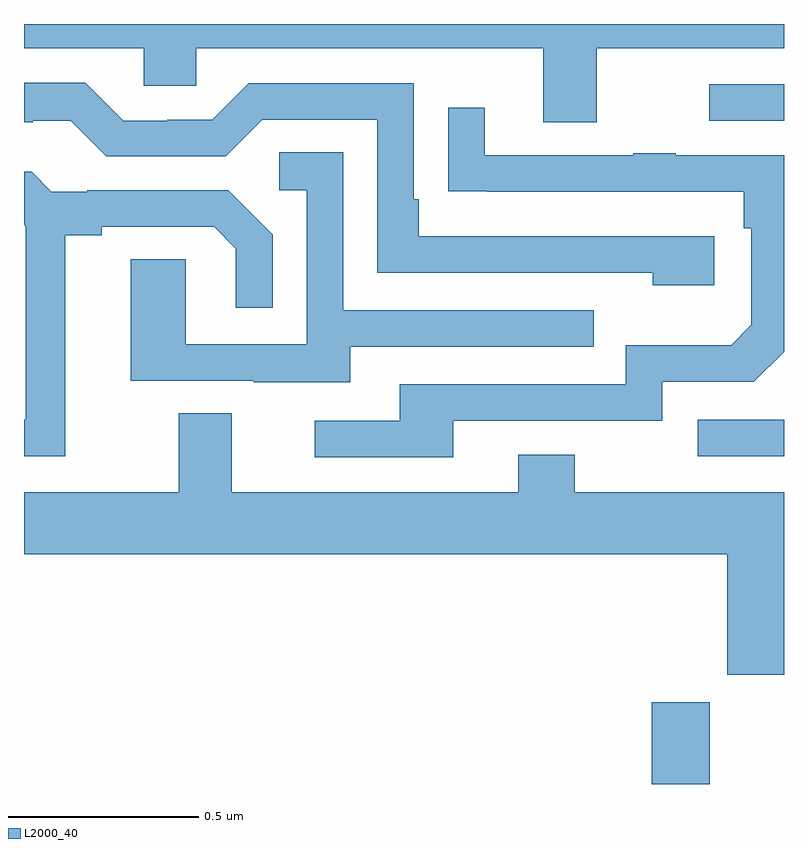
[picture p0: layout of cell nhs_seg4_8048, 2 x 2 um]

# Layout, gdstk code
import gdstk
lib = gdstk.Library(unit=1e-6, precision=1e-09)
def R(c, l, rs):  # rectangles x0, y0, x1, y1
    for r in rs: c.add(gdstk.rectangle(r[:2], r[2:], *l))
def P(c, l, *ps):  # polygons
    for p in ps: c.add(gdstk.Polygon(p, *l))
L2000_40 = (2000, 40)

nhs_seg4_8048 = lib.new_cell('nhs_seg4_8048')
R(nhs_seg4_8048, L2000_40, [(211.652,778.9,211.804,779.115), (211.773,779.763,212,779.859), (211.803,780.645,212,780.741)])
P(nhs_seg4_8048, L2000_40, [(211.507,780.836),(212,780.836),(212,780.9),(210,780.9),(210,780.836),(210.315,780.836),(210.315,780.738),(210.453,780.738),(210.453,780.836),(211.367,780.836),(211.367,780.642),(211.507,780.642)],
  [(211.816,780.342),(211.039,780.342),(211.039,780.439),(211.026,780.439),(211.026,780.744),(210.591,780.744),(210.495,780.648),(210.377,780.648),(210.377,780.645),(210.261,780.645),(210.161,780.745),(210,780.745),(210,780.641),(210.023,780.641),(210.023,780.645),(210.123,780.645),(210.216,780.552),(210.531,780.552),(210.627,780.648),(210.93,780.648),(210.93,780.246),(211.655,780.246),(211.655,780.212),(211.816,780.212)],
  [(211.129,779.856),(211.68,779.856),(211.68,779.958),(211.92,779.958),(212,780.038),(212,780.555),(211.715,780.555),(211.715,780.56),(211.603,780.56),(211.603,780.555),(211.213,780.555),(211.213,780.679),(211.117,780.679),(211.117,780.46),(211.219,780.46),(211.219,780.459),(211.894,780.459),(211.894,780.362),(211.914,780.362),(211.914,780.108),(211.861,780.055),(211.584,780.055),(211.584,779.952),(210.989,779.952),(210.989,779.856),(210.765,779.856),(210.765,779.76),(211.129,779.76)],
  [(210.859,780.051),(211.499,780.051),(211.499,780.147),(210.84,780.147),(210.84,780.563),(210.672,780.563),(210.672,780.462),(210.744,780.462),(210.744,780.057),(210.426,780.057),(210.426,780.281),(210.281,780.281),(210.281,779.961),(210.605,779.961),(210.605,779.957),(210.859,779.957)],
  [(210.109,780.344),(210.205,780.344),(210.205,780.366),(210.5,780.366),(210.557,780.309),(210.557,780.153),(210.654,780.153),(210.654,780.346),(210.538,780.462),(210.166,780.462),(210.166,780.459),(210.072,780.459),(210.02,780.511),(210,780.511),(210,780.372),(210.005,780.367),(210.005,779.859),(210,779.859),(210,779.763),(210.109,779.763)],
  [(212,779.668),(211.449,779.668),(211.449,779.767),(211.301,779.767),(211.301,779.668),(210.547,779.668),(210.547,779.876),(210.407,779.876),(210.407,779.668),(210,779.668),(210,779.504),(211.85,779.504),(211.85,779.187),(212,779.187)])

lib.write_gds('nhs_seg4_8048.gds')
